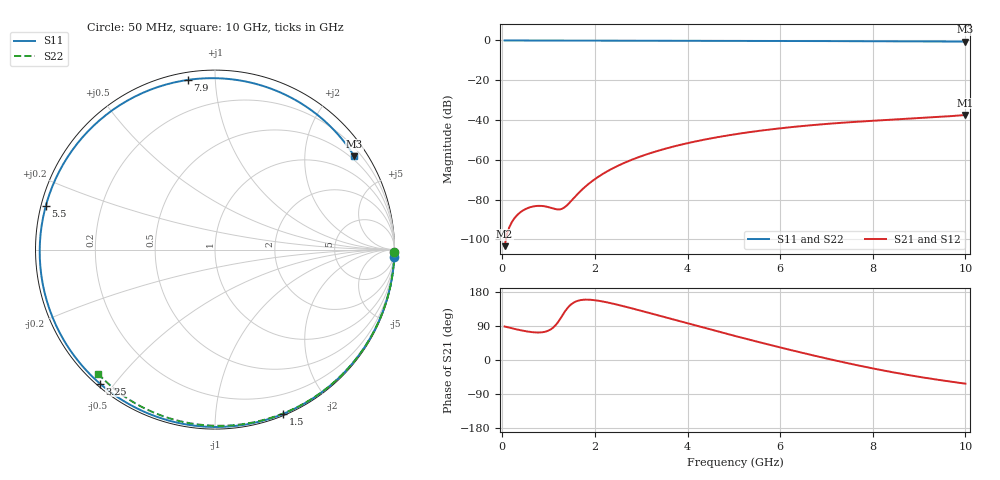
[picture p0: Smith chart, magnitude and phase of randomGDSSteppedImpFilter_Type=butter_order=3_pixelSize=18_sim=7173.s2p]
! freq	dB(S11)	phase(S11)	dB(S12)	phase(S12)
!  dB(S21)	phase(S21)	dB(S22)	phase(S22)
!S-par simulation data
#  GHz  S  DB  R 50
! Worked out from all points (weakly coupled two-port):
!   200 points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, 50 MHz to 10 GHz, reference 50 ohm
!   highest |S21| = -37.46 dB at 10 GHz (marker M1); lowest = -103.4 dB at 50 MHz (marker M2)
!   lowest |S11| = -0.6 dB at 10 GHz (marker M3), VSWR 29.37, Z = 19.8 + j162 ohm
!   |S11| at or under -10 dB: nowhere
!   |S22| runs from -0.4 to 0.0 dB; largest |S21 - S12| = 0
!   S11 on the Smith chart (normalised r, x): 50 MHz: 0, -48; 1.5 GHz: 0.01, -1.49; 3.25 GHz: 0.01, -0.46; 5.5 GHz: 0.01, +0.13; 7.9 GHz: 0.04, +0.85; 10 GHz: 0.40, +3.24
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0.05  -0.00 -2.4  -103.39 88.5  -103.39 88.5  -0.00 -0.8
0.35  -0.02 -16.5  -87.13 79.7  -87.13 79.7  -0.01 -5.4
0.7  -0.04 -32.7  -83.29 72.9  -83.29 72.9  -0.01 -10.7
1.1  -0.06 -50.6  -84.45 85.7  -84.45 85.7  -0.02 -16.8
1.5  -0.08 -67.6  -80.33 148.1  -80.33 148.1  -0.03 -22.8
1.75  -0.09 -77.7  -74.36 159.0  -74.36 159.0  -0.03 -26.6
2.05  -0.10 -89.3  -68.88 156.9  -68.88 156.9  -0.04 -31.0
2.4  -0.11 -102.2  -64.10 148.4  -64.10 148.4  -0.05 -36.2
2.8  -0.13 -116.0  -59.92 136.2  -59.92 136.2  -0.05 -42.0
3.25  -0.14 -130.6  -56.25 121.6  -56.25 121.6  -0.06 -48.5
3.4  -0.14 -135.3  -55.20 116.6  -55.20 116.6  -0.07 -50.6
4.2  -0.17 -158.9  -50.61 90.1  -50.61 90.1  -0.09 -61.7
5.05  -0.21 177.6  -47.06 62.6  -47.06 62.6  -0.11 -73.2
5.5  -0.23 165.4  -45.57 48.5  -45.57 48.5  -0.13 -79.1
6.1  -0.26 149.3  -43.90 30.2  -43.90 30.2  -0.15 -86.8
6.7  -0.30 133.1  -42.54 12.5  -42.54 12.5  -0.18 -94.3
7.3  -0.34 116.4  -41.43 -4.2  -41.43 -4.2  -0.22 -101.6
7.9  -0.38 99.2  -40.51 -19.7  -40.51 -19.7  -0.25 -108.8
8.35  -0.41 85.9  -39.91 -30.5  -39.91 -30.5  -0.29 -114.1
8.75  -0.44 73.7  -39.39 -39.3  -39.39 -39.3  -0.32 -118.8
9.15  -0.48 61.2  -38.85 -47.3  -38.85 -47.3  -0.36 -123.4
10  -0.59 33.9  -37.46 -62.4  -37.46 -62.4  -0.45 -133.2
